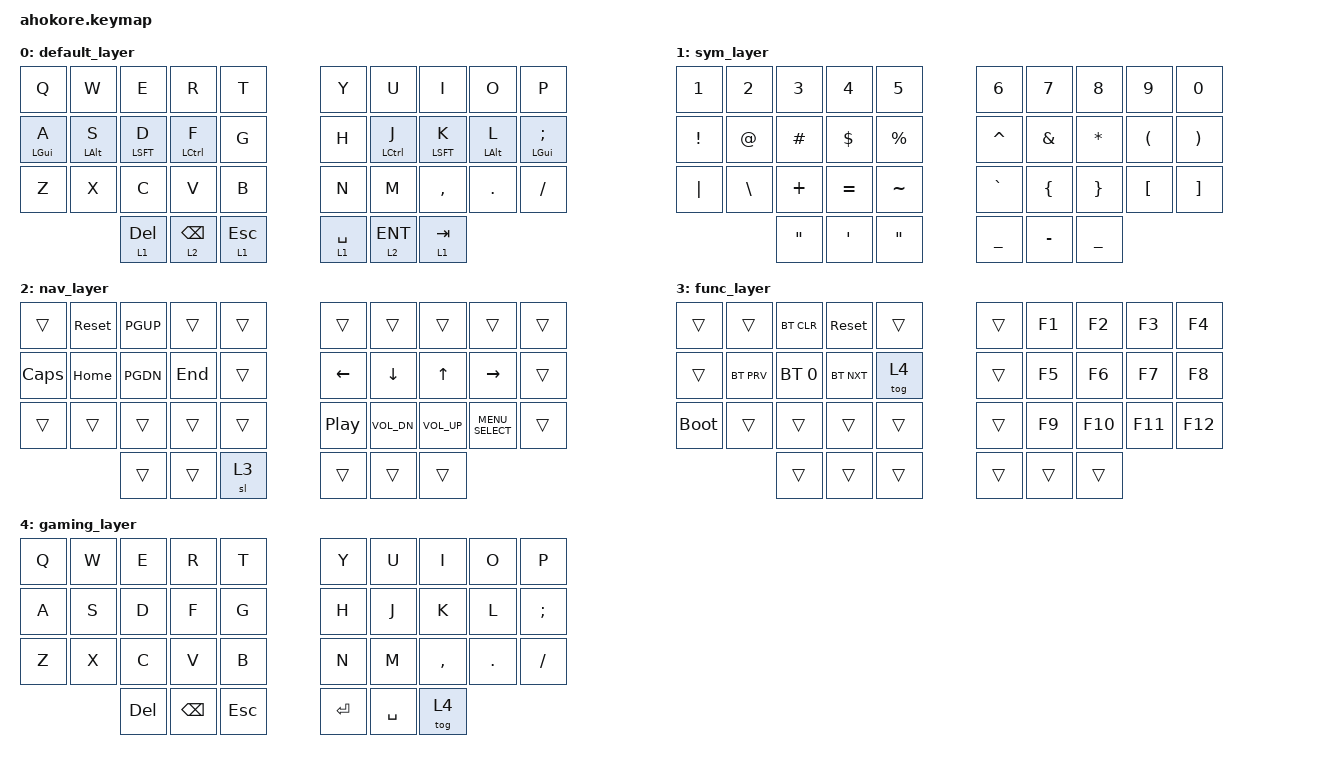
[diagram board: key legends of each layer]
*
 * Copyright (c) 2020 The ZMK Contributors
 *
 * SPDX-License-Identifier: MIT
 */

#include <behaviors.dtsi>
#include <dt-bindings/zmk/keys.h>
#include <dt-bindings/zmk/bt.h>

/ {
behaviors {
   hm: homerow_mods {
        compatible = "zmk,behavior-hold-tap";
        label = "HOMEROW_MODS";
        #binding-cells = <2>;
        tapping-term-ms = <200>;
        quick-tap-ms = <0>;
        flavor = "tap-preferred";
        bindings = <&kp>, <&kp>;
    };
    combos {
        compatible = "zmk,combos";
        combo_del {
            timeout-ms = <50>;
            key-positions = <22 24>;
            bindings = <&kp DEL>;
            layers = <0 1>;
        };
        combo_tab {
            timeout-ms = <50>;
            key-positions = <25 27>;
            bindings = <&kp TAB>;
            layers = <0 1>;
        };
        combo_caps {
            timeout-ms = <50>;
            key-positions = <20 29>;
            bindings = <&kp CAPS>;
            layers = <0 1>;
        };
    };
};
keymap {
     compatible = "zmk,keymap";

             default_layer {
// -----------------------------------------------------------------------------------------
// |  Q  |  W  |  E  |  R  |  T   |  Y  |  U   |  I  |  O  |  P  |
// |  A  |  S  |  D  |  F  |  G   |  H  |  J   |  K  |  L  |  ;  |
// |  Z  |  X  |  C  |  V  |  B   |  N  |  M   |  ,  |  .  |  /  |
//             | DEL | BSP |  ESC | SPC | ENT  | TAB |
                     bindings = <
&kp Q &kp W &kp E &kp R &kp T   &kp Y &kp U  &kp I   &kp O   &kp P
&hm LGUI A &hm LALT S &hm LSFT D &hm LCTL F &kp G &kp H &hm LCTL J  &hm LSFT K   &hm LALT L   &hm LGUI SEMI
&kp Z &kp X &kp C &kp V &kp B   &kp N &kp M  &kp COMMA &kp DOT &kp FSLH
   &lt 1 DEL &lt 2 BSPC &lt 1 ESC   &lt 1 SPC &lt 2 ENT &lt 1 TAB
                        >;
                };

                sym_layer {
// -----------------------------------------------------------------------------------------
// |  1  |  2  |  3  |  4  |  5  |  6  |  7  |  8  |  9  |  0  |
// |  !  |  @  |  #  |  $  |  %  |  ^  |  &  |  *  |  (  |  )  |
// |  |  |  \  |  +  |  =  |  ~  |  `  |  {  |  }  |  [  |  ]  |
//             |     |  '  |  "  |  _  |  -  |     |
                        bindings = <
   &kp N1    &kp N2    &kp N3    &kp N4      &kp N5      &kp N6    &kp N7    &kp N8    &kp N9     &kp N0
   &kp EXCL  &kp AT    &kp HASH  &kp DOLLAR  &kp PRCNT   &kp CARET &kp AMPS  &kp STAR  &kp LPAR   &kp RPAR
   &kp PIPE  &kp BSLH  &kp PLUS  &kp EQUAL   &kp TILDE   &kp GRAVE &kp LBRC  &kp RBRC  &kp LBKT   &kp RBKT
   &kp DQT   &kp SQT   &kp DQT    &kp UNDER      &kp MINUS   &kp UNDER
                        >;
                };

                nav_layer {
// -----------------------------------------------------------------------------------------
// |     |     |PGUP |      |     |      |      |      |      |      |
// |CAPS |HOME |PGDN |END   |     | LEFT | DOWN |  UP  | RIGHT|      |
// |     |     |     |      |     |  PP  | VDN  |  VUP | SEL  |      |
//             |     |      | FN  |      |      |      |
                        bindings = <
   &trans   &sys_reset      &kp PGUP  &trans &trans     &trans    &trans    &trans    &trans    &trans
   &kp CAPS &kp HOME    &kp PGDN &kp END &trans     &kp LEFT  &kp DOWN  &kp UP    &kp RIGHT &trans
   &trans   &trans &trans  &trans &trans     &kp C_PP  &kp C_VOL_DN &kp C_VOL_UP    &kp C_MENU_SELECT &trans
   &trans   &trans    &sl 3 &trans       &trans   &trans
                        >;
                };

                func_layer {
// -----------------------------------------------------------------------------------------
// |     |     | BCLR| RST  |     |      |  F1  |  F2  |  F3  |  F4  |
// |     | BPRV| B 0 | BNXT |     |      |  F5  |  F6  |  F7  |  F8  |
// | BTL |     |     |      |     |      |  F9  |  F10 |  F11 |  F12 |
//             |     |      |     |      |      |      |
                        bindings = <
   &trans &trans      &bt BT_CLR    &sys_reset     &trans     &trans  &kp F1   &kp F2   &kp F3 &kp F4
   &trans &bt BT_PRV  &bt BT_SEL 0  &bt BT_NXT &tog 4     &trans  &kp F5   &kp F6   &kp F7 &kp F8
   &bootloader &trans &trans        &trans     &trans     &trans  &kp F9   &kp F10   &kp F11 &kp F12
                      &trans        &trans     &trans     &trans  &trans   &trans
                        >;
                };

	             gaming_layer {
// -----------------------------------------------------------------------------------------
// |  Q  |  W  |  E  |  R  |  T   |  Y  |  U   |  I  |  O  |  P  |
// |  A  |  S  |  D  |  F  |  G   |  H  |  J   |  K  |  L  |  ;  |
// |  Z  |  X  |  C  |  V  |  B   |  N  |  M   |  ,  |  .  |  /  |
//             | DEL | BSP |  ECS | ENT | SPC  | TAB |
                     bindings = <
&kp Q &kp W &kp E &kp R &kp T   &kp Y &kp U  &kp I   &kp O   &kp P
&kp A &kp S &kp D &kp F &kp G   &kp H &kp J  &kp K   &kp L   &kp SEMI
&kp Z &kp X &kp C &kp V &kp B   &kp N &kp M  &kp COMMA &kp DOT &kp FSLH
      &kp DEL &kp BSPC &kp ESC  &kp RET &kp SPC &tog 4
                        >;
                };

        };
};
